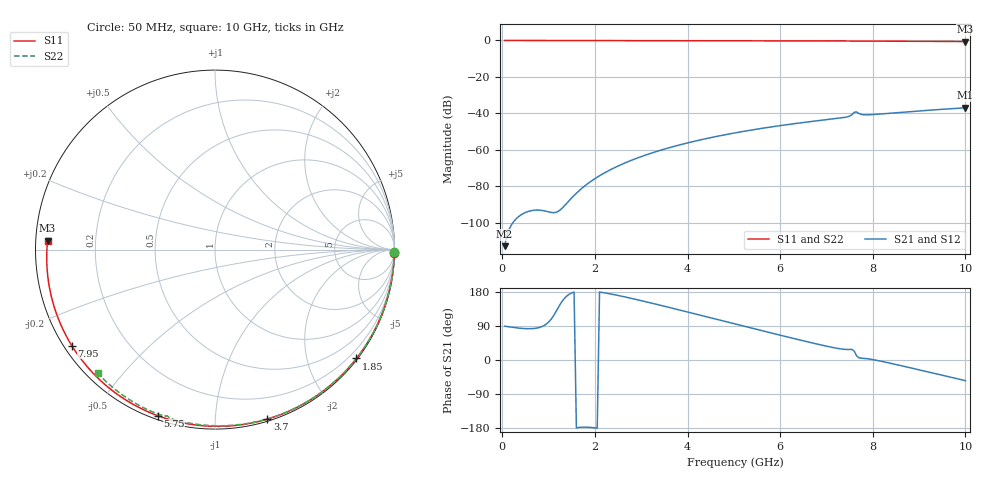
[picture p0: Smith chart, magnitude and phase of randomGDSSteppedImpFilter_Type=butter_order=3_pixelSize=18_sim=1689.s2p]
! freq	dB(S11)	phase(S11)	dB(S12)	phase(S12)
!  dB(S21)	phase(S21)	dB(S22)	phase(S22)
!S-par simulation data
#  GHz  S  DB  R 50
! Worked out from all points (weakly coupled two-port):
!   200 points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, 50 MHz to 10 GHz, reference 50 ohm
!   highest |S21| = -36.95 dB at 10 GHz (marker M1); lowest = -112.8 dB at 50 MHz (marker M2)
!   lowest |S11| = -0.6 dB at 10 GHz (marker M3), VSWR 29.41, Z = 1.7 + j1.31 ohm
!   |S11| at or under -10 dB: nowhere
!   |S22| runs from -0.5 to 0.0 dB; largest |S21 - S12| = 0
!   S11 on the Smith chart (normalised r, x): 50 MHz: open; 1.85 GHz: 0.03, -2.94; 3.7 GHz: 0.02, -1.35; 5.75 GHz: 0.02, -0.71; 7.95 GHz: 0.02, -0.30; 10 GHz: 0.03, +0.03
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0.05  -0.00 -1.0  -112.85 89.2  -112.85 89.2  -0.00 -0.8
0.9  -0.02 -18.5  -93.43 90.8  -93.43 90.8  -0.02 -13.8
1.75  -0.05 -35.6  -80.42 -177.2  -80.42 -177.2  -0.03 -26.7
1.85  -0.05 -37.6  -78.44 -177.4  -78.44 -177.4  -0.04 -28.1
2.15  -0.06 -43.5  -73.46 178.4  -73.46 178.4  -0.04 -32.6
2.5  -0.06 -50.3  -68.87 170.4  -68.87 170.4  -0.05 -37.8
2.9  -0.07 -57.9  -64.64 159.5  -64.64 159.5  -0.05 -43.6
3.4  -0.09 -67.3  -60.36 144.9  -60.36 144.9  -0.07 -50.7
3.7  -0.10 -72.9  -58.17 135.8  -58.17 135.8  -0.07 -54.9
4.35  -0.12 -84.7  -54.13 115.9  -54.13 115.9  -0.09 -63.9
5.05  -0.15 -97.0  -50.59 94.4  -50.59 94.4  -0.11 -73.4
5.75  -0.19 -109.0  -47.65 73.0  -47.65 73.0  -0.14 -82.5
6.7  -0.25 -125.1  -44.37 44.8  -44.37 44.8  -0.18 -94.5
7.45  -0.31 -137.7  -41.90 27.8  -41.90 27.8  -0.23 -103.8
7.55  -0.32 -139.4  -40.71 27.9  -40.71 27.9  -0.26 -105.2
7.6  -0.32 -140.2  -39.44 23.2  -39.44 23.2  -0.31 -105.8
7.65  -0.32 -141.0  -39.21 11.2  -39.21 11.2  -0.32 -106.0
7.75  -0.33 -142.8  -40.57 4.7  -40.57 4.7  -0.27 -107.0
7.95  -0.35 -146.2  -40.74 2.1  -40.74 2.1  -0.27 -109.5
8.35  -0.39 -153.0  -39.97 -7.7  -39.97 -7.7  -0.29 -114.3
9.2  -0.49 -168.0  -38.29 -31.6  -38.29 -31.6  -0.37 -124.2
10  -0.59 177.0  -36.95 -54.4  -36.95 -54.4  -0.45 -133.5
